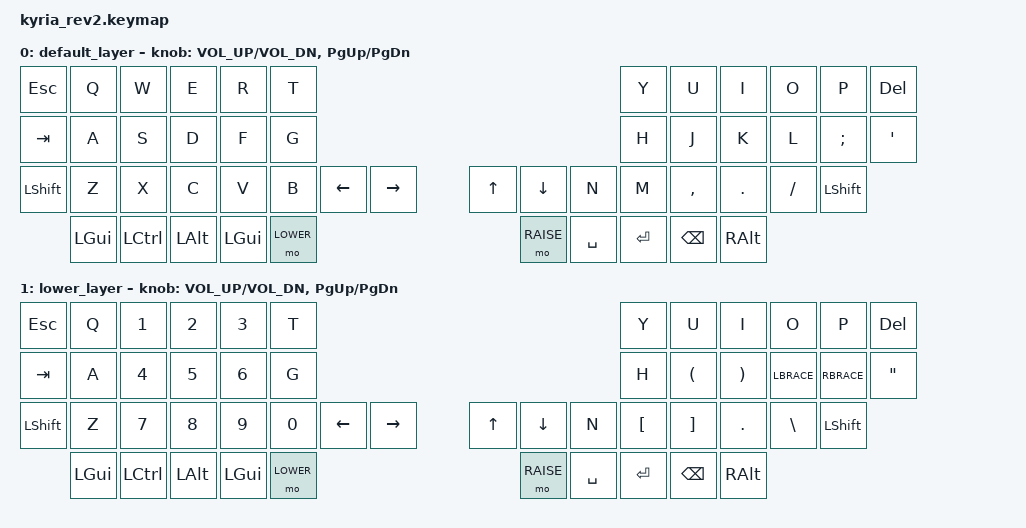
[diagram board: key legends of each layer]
/*
 * Copyright (c) 2020 The ZMK Contributors
 *
 * SPDX-License-Identifier: MIT
 */

#include <behaviors.dtsi>
#include <dt-bindings/zmk/keys.h>

#define DEFAULT 0
#define LOWER   1
#define RAISE   2

/ {
	keymap {
		compatible = "zmk,keymap";

		default_layer {
// ---------------------------------------------------------------------------------------------------------------------------------
// |  ESC  |  Q  |  W  |  E   |  R   |  T   |                                          |  Y   |  U    |  I    |  O   |   P   | DELETE |
// |  TAB  |  A  |  S  |  D   |  F   |  G   |                                          |  H   |  J    |  K    |  L   |   ;   |   '  |
// | SHIFT |  Z  |  X  |  C   |  V   |  B   |    LEFT | RIGHT |        | UP | DOWN |  N   |  M    |  ,    |  .   |   /   | SHIFT |
//                     | GUI  | CTRL  | L-ALT |  GUI  | LOWER |        | RAISE |  SPACE  | ENTER  | BSPC  | R-ALT |
			bindings = <
	&kp ESC   &kp Q &kp W &kp E &kp R &kp T                                                &kp Y &kp U  &kp I     &kp O   &kp P    &kp DELETE
	&kp TAB   &kp A &kp S &kp D &kp F &kp G                                                &kp H &kp J  &kp K     &kp L   &kp SEMI &kp SQT
	&kp LSHFT &kp Z &kp X &kp C &kp V &kp B &kp LEFT &kp RIGHT         &kp UP &kp DOWN &kp N &kp M  &kp COMMA &kp DOT &kp FSLH &kp LSHFT
	            &kp LGUI &kp LCTRL &kp LALT &kp LGUI &mo LOWER         &mo RAISE  &kp SPACE  &kp ENTER &kp BSPC &kp RALT
			>;

			sensor-bindings = <&inc_dec_kp C_VOL_UP C_VOL_DN &inc_dec_kp PG_UP PG_DN>;
		};
		
 		lower_layer {
// // ---------------------------------------------------------------------------------------------------------------------------------
// // |  ESC  |  Q  |  W  |  E   |  R   |  T   |                                          |  Y   |  U    |  I    |  O   |   P   |   DELETE  |
// // |  TAB  |  A  |  S  |  D   |  F   |  G   |                                          |  H   |  LPAR |  RPAR |  LBRACE | RBRACE  |  '  |
// // | SHIFT |  Z  |  X  |  C   |  V   |  B   | L SHIFT | L SHIFT |  | L SHIFT | L SHIFT |  N   |  LBKT | RBKT  |  .   |   \   | CTRL |
// //                     | GUI  | DEL  | RET  |  SPACE  |   ESC   |  |   RET   |  SPACE  | TAB  | BSPC  | R-ALT |

 			bindings = <
 	&kp ESC   &kp Q &kp N1 &kp N2 &kp N3 &kp T                                                &kp Y &kp U  &kp I     &kp O   &kp P    &kp DELETE
 	&kp TAB   &kp A &kp N4 &kp N5 &kp N6 &kp G                                                &kp H &kp LPAR &kp RPAR &kp LBRACE &kp RBRACE &kp DQT
 	&kp LSHFT &kp Z &kp N7 &kp N8 &kp N9 &kp N0 &kp LEFT &kp RIGHT         &kp UP &kp DOWN &kp N &kp LBKT &kp RBKT &kp DOT &kp BSLH &kp LSHFT
	            &kp LGUI &kp LCTRL &kp LALT &kp LGUI &mo LOWER         &mo RAISE  &kp SPACE  &kp ENTER &kp BSPC &kp RALT
 			>;

 			sensor-bindings = <&inc_dec_kp C_VOL_UP C_VOL_DN &inc_dec_kp PG_UP PG_DN>;
 		};
	};
};
